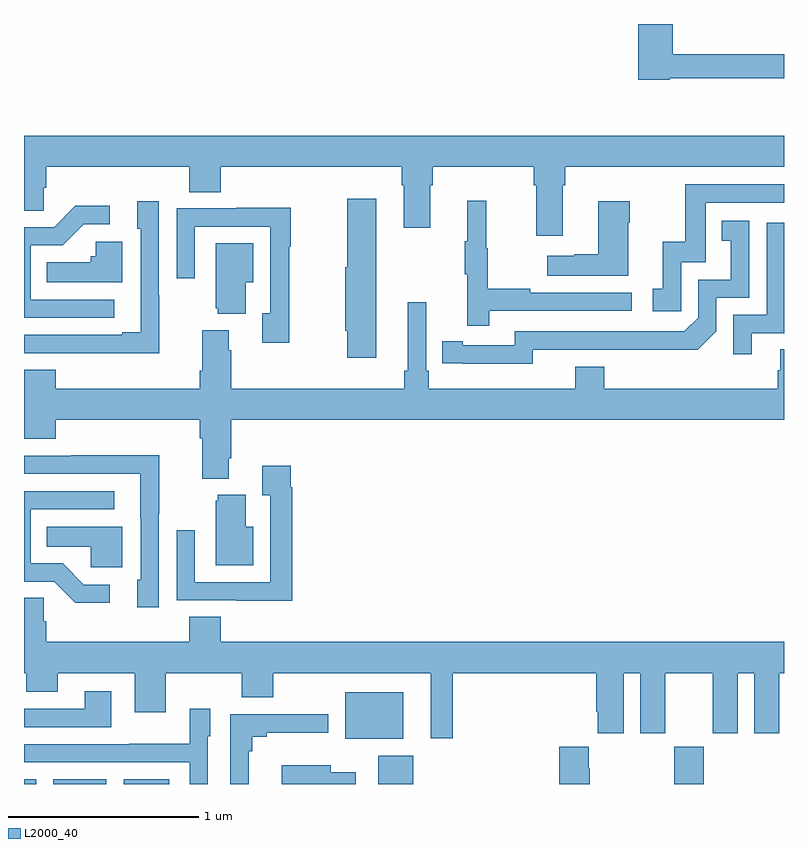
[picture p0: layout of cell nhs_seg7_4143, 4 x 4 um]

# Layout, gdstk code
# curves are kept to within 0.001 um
import gdstk
lib = gdstk.Library(unit=1e-6, precision=1e-09)
def R(c, l, rs):  # rectangles x0, y0, x1, y1
    for r in rs: c.add(gdstk.rectangle(r[:2], r[2:], *l))
def P(c, l, *ps):  # polygons
    for p in ps: c.add(gdstk.Polygon(p, *l))
L2000_40 = (2000, 40)

nhs_seg7_4143 = lib.new_cell('nhs_seg7_4143')
R(nhs_seg7_4143, L2000_40, [(373,1032,373.065,1032.024), (373.154,1032,373.432,1032.025), (373.526,1032,373.765,1032.025), (374.865,1032,375.049,1032.148), (376.423,1032,376.578,1032.196), (374.69,1032.239,374.995,1032.484)])
P(nhs_seg7_4143, L2000_40, [(376.398,1035.714),(377,1035.714),(377,1035.842),(376.415,1035.842),(376.415,1036),(376.232,1036),(376.232,1035.706),(376.398,1035.706)],
  [(375.835,1035.152),(375.848,1035.152),(375.848,1035.248),(377,1035.248),(377,1035.412),(373,1035.412),(373,1035.016),(373.104,1035.016),(373.104,1035.139),(373.118,1035.139),(373.118,1035.248),(373.871,1035.248),(373.871,1035.115),(374.036,1035.115),(374.036,1035.248),(374.987,1035.248),(374.987,1035.152),(374.999,1035.152),(374.999,1034.928),(375.139,1034.928),(375.139,1035.152),(375.152,1035.152),(375.152,1035.248),(375.683,1035.248),(375.683,1035.152),(375.695,1035.152),(375.695,1034.886),(375.835,1034.886)],
  [(376.458,1034.745),(376.587,1034.745),(376.587,1035.06),(377,1035.06),(377,1035.156),(376.479,1035.156),(376.479,1034.853),(376.361,1034.853),(376.361,1034.607),(376.308,1034.607),(376.308,1034.487),(376.458,1034.487)],
  [(374.854,1035.079),(374.701,1035.079),(374.701,1034.721),(374.69,1034.721),(374.69,1034.385),(374.701,1034.385),(374.701,1034.244),(374.854,1034.244)],
  [(375.449,1034.49),(376.198,1034.49),(376.198,1034.586),(375.665,1034.586),(375.665,1034.606),(375.442,1034.606),(375.442,1034.82),(375.434,1034.82),(375.434,1035.07),(375.332,1035.07),(375.332,1034.857),(375.321,1034.857),(375.321,1034.683),(375.332,1034.683),(375.332,1034.412),(375.449,1034.412)],
  [(376.18,1034.954),(376.188,1034.954),(376.188,1035.067),(376.022,1035.067),(376.022,1034.789),(375.896,1034.789),(375.896,1034.779),(375.753,1034.779),(375.753,1034.675),(376.18,1034.675)],
  [(373.713,1034.573),(373.71,1034.573),(373.71,1035.067),(373.595,1035.067),(373.595,1034.922),(373.614,1034.922),(373.614,1034.377),(373.517,1034.377),(373.517,1034.364),(373,1034.364),(373,1034.268),(373.249,1034.268),(373.249,1034.267),(373.713,1034.267)],
  [(373.474,1034.55),(373.035,1034.55),(373.035,1034.835),(373.204,1034.835),(373.315,1034.946),(373.45,1034.946),(373.45,1035.044),(373.271,1035.044),(373.158,1034.931),(373,1034.931),(373,1034.454),(373.474,1034.454)],
  [(374.396,1034.827),(374.404,1034.827),(374.404,1035.032),(374.119,1035.032),(374.119,1035.03),(373.803,1035.03),(373.803,1034.661),(373.899,1034.661),(373.899,1034.934),(374.295,1034.934),(374.295,1034.478),(374.255,1034.478),(374.255,1034.322),(374.396,1034.322)],
  [(375.678,1034.286),(376.546,1034.285),(376.644,1034.382),(376.644,1034.559),(376.818,1034.559),(376.818,1034.965),(376.672,1034.965),(376.672,1034.859),(376.721,1034.859),(376.721,1034.655),(376.548,1034.655),(376.548,1034.454),(376.476,1034.382),(375.582,1034.382),(375.582,1034.31),(375.31,1034.31),(375.31,1034.33),(375.202,1034.33),(375.202,1034.214),(375.678,1034.213)],
  [(376.831,1034.373),(377,1034.373),(377,1034.955),(376.908,1034.955),(376.908,1034.469),(376.734,1034.469),(376.734,1034.262),(376.831,1034.262)],
  [(373.516,1034.854),(373.377,1034.854),(373.377,1034.778),(373.351,1034.778),(373.351,1034.746),(373.12,1034.746),(373.12,1034.642),(373.516,1034.642)],
  [(374.167,1034.642),(374.206,1034.642),(374.206,1034.845),(374.009,1034.845),(374.009,1034.505),(374.021,1034.505),(374.021,1034.474),(374.167,1034.474)],
  [(374.077,1033.714),(374.09,1033.714),(374.09,1033.916),(377,1033.916),(377,1034.288),(376.979,1034.288),(376.979,1034.178),(376.967,1034.178),(376.967,1034.08),(376.055,1034.08),(376.055,1034.197),(375.902,1034.197),(375.902,1034.08),(375.131,1034.08),(375.131,1034.176),(375.117,1034.176),(375.117,1034.536),(375.02,1034.536),(375.02,1034.176),(375.001,1034.176),(375.001,1034.08),(374.09,1034.08),(374.09,1034.282),(374.077,1034.282),(374.077,1034.389),(373.937,1034.389),(373.937,1034.176),(373.925,1034.176),(373.925,1034.08),(373.166,1034.08),(373.166,1034.179),(373.001,1034.179),(373.001,1034.08),(373,1034.08),(373,1033.916),(373.001,1033.916),(373.001,1033.817),(373.166,1033.817),(373.166,1033.916),(373.925,1033.916),(373.925,1033.82),(373.937,1033.82),(373.937,1033.607),(374.077,1033.607)],
  [(373.71,1033.423),(373.713,1033.423),(373.713,1033.73),(373.249,1033.73),(373.249,1033.728),(373,1033.728),(373,1033.632),(373.613,1033.632),(373.613,1033.399),(373.614,1033.399),(373.614,1033.074),(373.595,1033.074),(373.595,1032.93),(373.71,1032.93)],
  [(374.411,1033.562),(374.404,1033.562),(374.404,1033.675),(374.255,1033.675),(374.255,1033.519),(374.295,1033.519),(374.295,1033.062),(373.899,1033.062),(373.899,1033.336),(373.803,1033.336),(373.803,1032.966),(374.119,1032.966),(374.119,1032.965),(374.411,1032.965)],
  [(373.45,1033.05),(373.315,1033.05),(373.204,1033.161),(373.035,1033.161),(373.035,1033.446),(373.474,1033.446),(373.474,1033.542),(373,1033.542),(373,1033.065),(373.158,1033.065),(373.271,1032.953),(373.45,1032.953)],
  [(374.206,1033.354),(374.167,1033.354),(374.167,1033.522),(374.021,1033.522),(374.021,1033.491),(374.009,1033.491),(374.009,1033.151),(374.206,1033.151)],
  [(373.516,1033.354),(373.12,1033.354),(373.12,1033.25),(373.351,1033.25),(373.351,1033.142),(373.516,1033.142)],
  [(375.257,1032.584),(376.013,1032.584),(376.013,1032.379),(376.019,1032.379),(376.019,1032.267),(376.156,1032.267),(376.156,1032.584),(376.244,1032.584),(376.244,1032.267),(376.375,1032.267),(376.375,1032.584),(376.625,1032.584),(376.625,1032.267),(376.756,1032.267),(376.756,1032.584),(376.844,1032.584),(376.844,1032.267),(376.975,1032.267),(376.975,1032.584),(377,1032.584),(377,1032.748),(374.036,1032.748),(374.036,1032.881),(373.871,1032.881),(373.871,1032.748),(373.118,1032.748),(373.118,1032.857),(373.104,1032.857),(373.104,1032.98),(373,1032.98),(373,1032.584),(373.013,1032.584),(373.013,1032.485),(373.177,1032.485),(373.177,1032.584),(373.583,1032.584),(373.583,1032.378),(373.747,1032.378),(373.747,1032.584),(374.147,1032.584),(374.147,1032.456),(374.311,1032.456),(374.311,1032.584),(375.14,1032.584),(375.14,1032.24),(375.257,1032.24)],
  [(373.459,1032.487),(373.319,1032.487),(373.319,1032.396),(373,1032.396),(373,1032.3),(373.459,1032.3)],
  [(373.968,1032.252),(373.981,1032.252),(373.981,1032.397),(373.872,1032.397),(373.872,1032.211),(373.555,1032.211),(373.555,1032.21),(373,1032.21),(373,1032.114),(373.872,1032.114),(373.872,1032),(373.968,1032)],
  [(374.182,1032.173),(374.201,1032.173),(374.201,1032.25),(374.278,1032.25),(374.278,1032.269),(374.602,1032.269),(374.602,1032.366),(374.085,1032.366),(374.085,1032),(374.182,1032)],
  [(375.978,1032.083),(375.973,1032.083),(375.973,1032.196),(375.818,1032.196),(375.818,1032),(375.978,1032)],
  [(374.746,1032.061),(374.614,1032.061),(374.614,1032.1),(374.357,1032.1),(374.357,1032),(374.746,1032)])

lib.write_gds('nhs_seg7_4143.gds')
